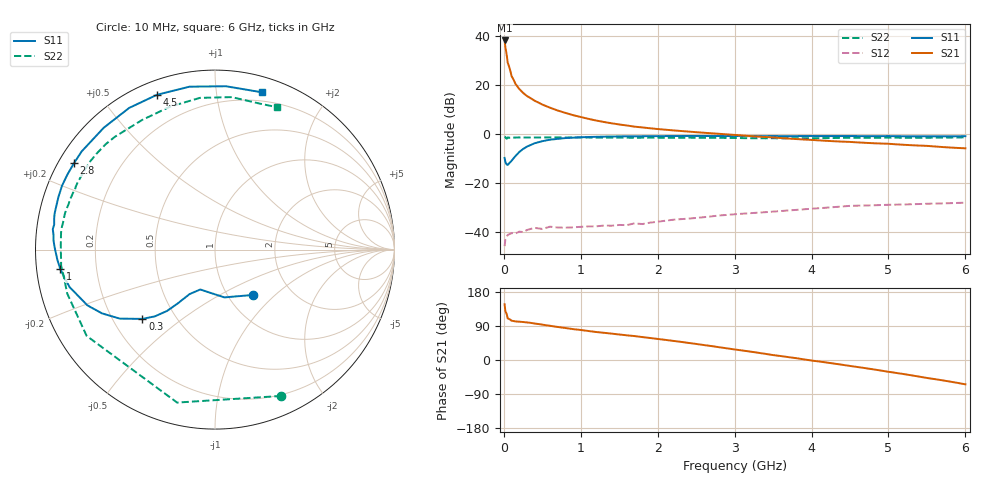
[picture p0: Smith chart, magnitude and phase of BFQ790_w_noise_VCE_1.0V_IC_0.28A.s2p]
! (c) 2015  Infineon Technologies AG, Munich
! Infineon Technologies  Discrete & RF Semiconductors
! BFQ790
! VCE =  1.0 V,  IC = 0.28 A
! Common Emitter S-Parameters:  May 2015
# GHz  S  MA  R  50
!  f  S11  S21  S12  S22
! GHz  MAG  ANG  MAG  ANG  MAG  ANG  MAG  ANG
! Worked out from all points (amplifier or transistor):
!   77 points, 10 MHz to 6 GHz, reference 50 ohm
!   highest |S21| = 38.3 dB at 10 MHz (marker M1)
!   |S21| within 3 dB of that: start of sweep to 21.1 MHz
!   unconditionally stable (mu >= 1): 147.2 MHz to end of sweep
!   at 130 MHz: K = 0.87, MSG = 31.2 dB, |S12| = -40.4 dB
!   at 2.2 GHz: K = 1.36, MAG = 14.6 dB, |S12| = -34.9 dB
!   at 6 GHz: K = 1.20, MAG = 8.4 dB, |S12| = -27.9 dB
!   lowest NFmin = 3.93 dB at 1.5 GHz
!   S11 on the Smith chart (normalised r, x): 10 MHz: 1.30, -0.73; 300 MHz: 0.32, -0.36; 1 GHz: 0.07, -0.06; 2.8 GHz: 0.04, +0.28; 4.5 GHz: 0.06, +0.69; 6 GHz: 0.12, +1.33
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0.01  0.3286 -50.3  82.22 147.0  0.0052 56.4  0.8952 -65.6
0.02  0.2714 -78.9  59.47 128.3  0.0072 36.0  0.878 -103.9
0.05  0.237 -110.3  29.07 109.7  0.0088 18.9  0.8617 -146.1
0.1  0.2868 -119.9  15.46 103.5  0.0096 13.2  0.859 -163.4
0.15  0.3576 -124.3  10.76 101.9  0.0094 17.5  0.8563 -170.5
0.2  0.4336 -128.0  8.421 101.1  0.0103 16.9  0.862 -174.0
0.25  0.5005 -132.0  7.015 100.2  0.0101 15.3  0.8592 -176.6
0.3  0.5588 -136.3  6.041 99.2  0.0111 12.9  0.8589 -178.7
0.4  0.6555 -144.1  4.839 96.3  0.0123 15.2  0.8596 178.2
0.5  0.7233 -150.6  4.043 93.3  0.0117 12.8  0.8608 175.8
0.6  0.7758 -156.4  3.49 90.3  0.013 11.5  0.8629 173.6
0.8  0.8365 -165.5  2.732 84.4  0.0124 10.8  0.8599 170.0
1  0.8685 -172.8  2.251 79.2  0.0129 14.3  0.8599 166.7
1.1  0.8798 -176.2  2.063 76.5  0.0132 14.0  0.8583 165.2
1.5  0.9038 174.7  1.585 67.3  0.0141 17.4  0.8526 159.6
2.1  0.9179 163.4  1.239 53.1  0.0172 17.7  0.8503 150.5
2.8  0.9215 148.4  1.022 33.7  0.022 11.0  0.846 136.0
3.1  0.9191 141.4  0.944 25.1  0.0239 7.1  0.8349 129.1
4.1  0.92 119.1  0.75 -4.0  0.031 -8.6  0.8347 105.2
4.5  0.9211 110.5  0.698 -15.7  0.0346 -16.8  0.8496 95.7
5.1  0.9139 96.4  0.624 -34.1  0.0366 -30.4  0.8517 81.7
6  0.9145 73.4  0.517 -64.2  0.0402 -51.6  0.8647 66.6
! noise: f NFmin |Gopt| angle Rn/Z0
0.45  6.54  0.52  144  0.63
0.9  4.59  0.65  170  0.19
1.5  3.93  0.74  -171  0.11
1.8  3.97  0.75  -166  0.13
2.6  4.12  0.77  -151  0.34
3.5  4.55  0.85  -134  0.75
